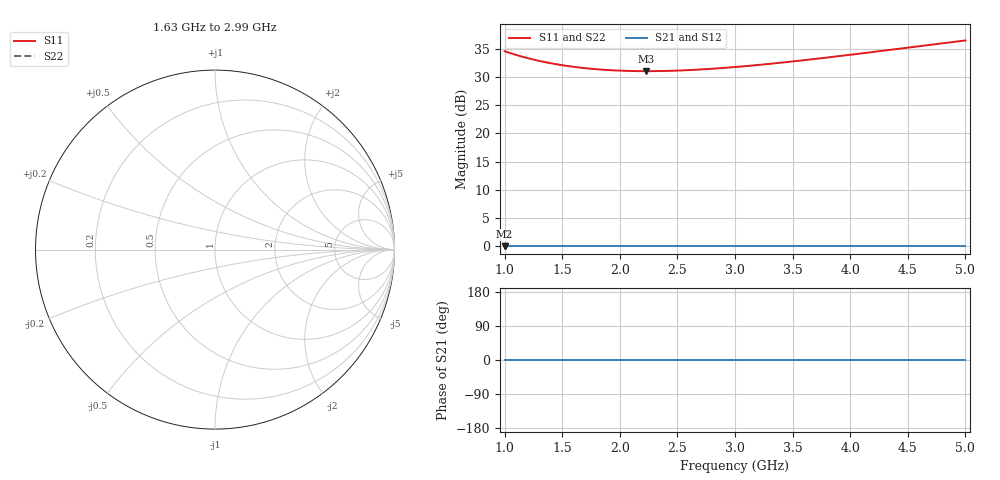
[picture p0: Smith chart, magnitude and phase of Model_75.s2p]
# GHZ S RI R 50
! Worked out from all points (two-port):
!   401 points, 1 GHz to 5 GHz, reference 50 ohm
!   highest |S21| = 0.00 dB at 1 GHz (marker M1); lowest = 0.0 dB at 1 GHz (marker M2)
!   |S21| within 3 dB of the highest: start of sweep to end of sweep
!   lowest |S11| = 31.0 dB at 2.23 GHz (marker M3)
!   |S11| at or under -10 dB: nowhere
!   |S22| runs from 31.0 to 36.4 dB; largest |S21 - S12| = 0
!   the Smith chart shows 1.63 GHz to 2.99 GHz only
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1  53.31 0  1 0  1 0  53.31 0
1.15  47.78 0  1 0  1 0  47.78 0
1.22  45.76 0  1 0  1 0  45.76 0
1.3  43.78 0  1 0  1 0  43.78 0
1.38  42.11 0  1 0  1 0  42.11 0
1.47  40.55 0  1 0  1 0  40.55 0
1.57  39.13 0  1 0  1 0  39.13 0
1.67  38 0  1 0  1 0  38 0
1.8  36.91 0  1 0  1 0  36.91 0
1.93  36.16 0  1 0  1 0  36.16 0
2.08  35.66 0  1 0  1 0  35.66 0
2.23  35.5 0  1 0  1 0  35.5 0
2.34  35.57 0  1 0  1 0  35.57 0
2.5  35.92 0  1 0  1 0  35.92 0
2.66  36.53 0  1 0  1 0  36.53 0
3  38.61 0  1 0  1 0  38.61 0
3.33  41.5 0  1 0  1 0  41.5 0
3.67  45.25 0  1 0  1 0  45.25 0
4  49.58 0  1 0  1 0  49.58 0
4.34  54.7 0  1 0  1 0  54.7 0
4.63  59.57 0  1 0  1 0  59.57 0
5  66.41 0  1 0  1 0  66.41 0
